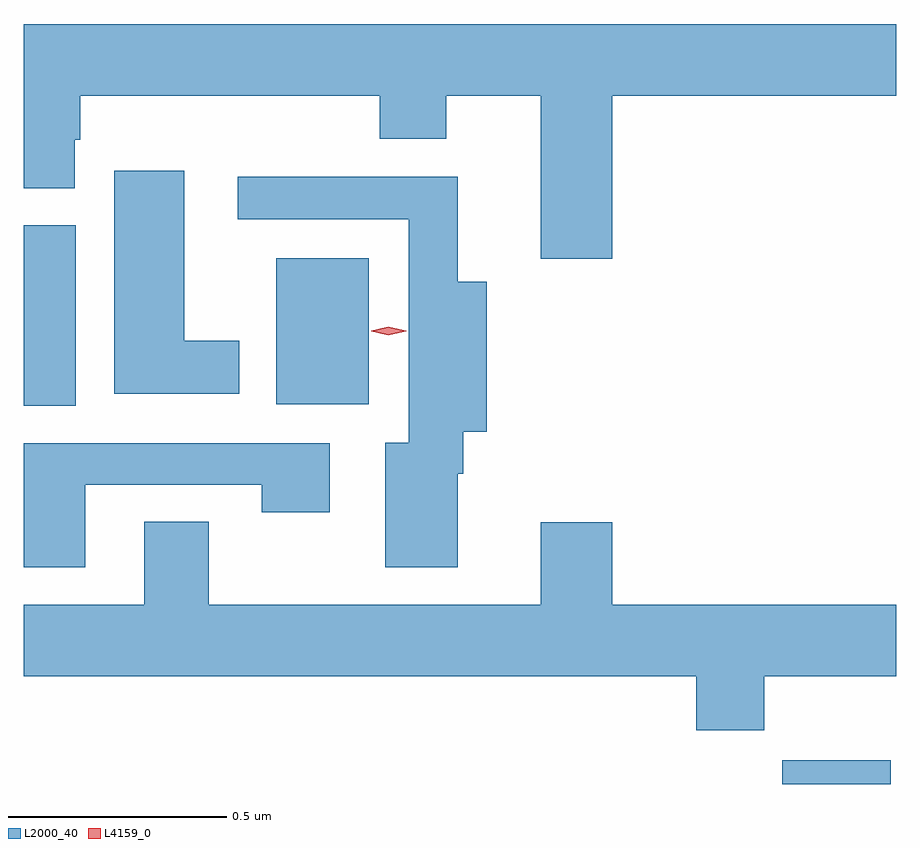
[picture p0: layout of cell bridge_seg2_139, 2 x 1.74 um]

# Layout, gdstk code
import gdstk
lib = gdstk.Library(unit=1e-6, precision=1e-09)
def R(c, l, rs):  # rectangles x0, y0, x1, y1
    for r in rs: c.add(gdstk.rectangle(r[:2], r[2:], *l))
def P(c, l, *ps):  # polygons
    for p in ps: c.add(gdstk.Polygon(p, *l))
L2000_40 = (2000, 40)
L4159_0 = (4159, 0)

bridge_seg2_139 = lib.new_cell('bridge_seg2_139')
R(bridge_seg2_139, L2000_40, [(513.214,595.441,513.463,595.495), (511.475,596.308,511.594,596.722), (512.054,596.312,512.266,596.647)])
P(bridge_seg2_139, L2000_40, [(512.824,597.02),(513.475,597.02),(513.475,597.184),(511.475,597.184),(511.475,596.807),(511.591,596.807),(511.591,596.919),(511.604,596.919),(511.604,597.02),(512.291,597.02),(512.291,596.921),(512.443,596.921),(512.443,597.02),(512.66,597.02),(512.66,596.646),(512.824,596.646)],
  [(511.969,596.458),(511.843,596.458),(511.843,596.848),(511.682,596.848),(511.682,596.336),(511.969,596.336)],
  [(512.47,596.153),(512.483,596.153),(512.483,596.249),(512.536,596.249),(512.536,596.593),(512.47,596.593),(512.47,596.834),(511.965,596.834),(511.965,596.736),(512.357,596.736),(512.357,596.224),(512.303,596.224),(512.303,595.938),(512.47,595.938)],
  [(511.615,596.127),(512.02,596.127),(512.02,596.064),(512.176,596.064),(512.176,596.223),(511.475,596.223),(511.475,595.938),(511.615,595.938)],
  [(513.173,595.688),(513.475,595.688),(513.475,595.852),(512.824,595.852),(512.824,596.041),(512.66,596.041),(512.66,595.852),(511.899,595.852),(511.899,596.042),(511.751,596.042),(511.751,595.852),(511.475,595.852),(511.475,595.688),(513.017,595.688),(513.017,595.564),(513.173,595.564)])
P(bridge_seg2_139, L4159_0, [(512.311,596.47),(512.271,596.479),(512.271,596.48),(512.271,596.48),(512.311,596.49),(512.352,596.48),(512.352,596.48),(512.352,596.479)])

lib.write_gds('bridge_seg2_139.gds')
